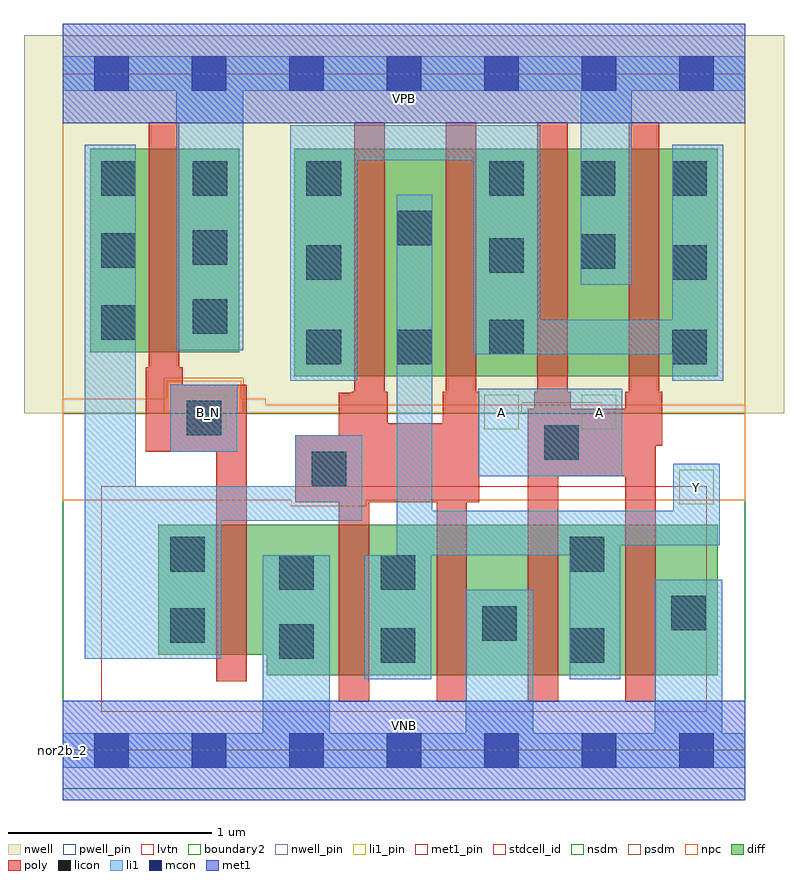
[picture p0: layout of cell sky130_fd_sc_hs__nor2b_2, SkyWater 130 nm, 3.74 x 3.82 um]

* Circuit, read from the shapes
.subckt sky130_fd_sc_hs__nor2b_2 A B_N VGND VNB VPB VPWR Y
XM1 VGND B_N n1 VNB sky130_fd_pr__nfet_01v8_lvt w=0.64 l=0.15
XM2 Y n1 VGND VNB sky130_fd_pr__nfet_01v8_lvt w=0.74 l=0.15 m=2
XM3 Y A VGND VNB sky130_fd_pr__nfet_01v8_lvt w=0.74 l=0.15 m=2
XM4 VPWR B_N n1 VPB sky130_fd_pr__pfet_01v8 w=1 l=0.15
XM5 Y n1 n2 VPB sky130_fd_pr__pfet_01v8 w=1.12 l=0.15 m=2
XM6 VPWR A n2 VPB sky130_fd_pr__pfet_01v8 w=1.12 l=0.15 m=2
.ends

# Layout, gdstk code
import gdstk
lib = gdstk.Library(unit=1e-6, precision=1e-09)
def R(c, l, rs):  # rectangles x0, y0, x1, y1
    for r in rs: c.add(gdstk.rectangle(r[:2], r[2:], *l))
def A(c, l, x, y, w, h, nx, ny, dx, dy):  # array of equal rectangles
    R(c, l, [(x+i*dx, y+j*dy, x+i*dx+w, y+j*dy+h) for i in range(nx) for j in range(ny)])
def P(c, l, *ps):  # polygons
    for p in ps: c.add(gdstk.Polygon(p, *l))
nwell_pin = (64, 16)
nwell = (64, 20)
diff = (65, 20)
poly = (66, 20)
licon = (66, 44)
li1_pin = (67, 16)
li1 = (67, 20)
mcon = (67, 44)
met1_pin = (68, 16)
met1 = (68, 20)
stdcell_id = (81, 4)
nsdm = (93, 44)
psdm = (94, 20)
npc = (95, 20)
pwell_pin = (122, 16)
lvtn = (125, 44)
boundary2 = (236, 0)

sky130_fd_sc_hs__nor2b_2 = lib.new_cell('sky130_fd_sc_hs__nor2b_2')
R(sky130_fd_sc_hs__nor2b_2, nwell_pin, [(0,3.085,3.36,3.33)])
R(sky130_fd_sc_hs__nor2b_2, nwell, [(-0.19,1.66,3.55,3.52)])
R(sky130_fd_sc_hs__nor2b_2, diff, [(1.14,1.84,3.225,2.96), (0.135,1.96,0.87,2.96)])
P(sky130_fd_sc_hs__nor2b_2, diff, [(3.225,1.11),(0.47,1.11),(0.47,0.47),(1.005,0.47),(1.005,0.37),(3.225,0.37)])
P(sky130_fd_sc_hs__nor2b_2, poly, [(2.95,1.765),(2.935,1.765),(2.935,3.09),(2.785,3.09),(2.785,1.765),(2.77,1.765),(2.77,1.68),(2.5,1.68),(2.5,1.765),(2.485,1.765),(2.485,3.09),(2.335,3.09),(2.335,1.765),(2.32,1.765),(2.32,1.68),(2.29,1.68),(2.29,0.24),(2.44,0.24),(2.44,1.35),(2.77,1.35),(2.77,0.24),(2.92,0.24),(2.92,1.5),(2.95,1.5)],
  [(2.05,1.765),(2.035,1.765),(2.035,3.09),(1.885,3.09),(1.885,1.765),(1.87,1.765),(1.87,1.61),(1.6,1.61),(1.6,1.765),(1.585,1.765),(1.585,3.09),(1.435,3.09),(1.435,1.765),(1.42,1.765),(1.42,1.76),(1.36,1.76),(1.36,1.55),(1.145,1.55),(1.145,1.22),(1.36,1.22),(1.36,0.24),(1.51,0.24),(1.51,1.22),(1.84,1.22),(1.84,0.24),(1.99,0.24),(1.99,1.22),(2.05,1.22)],
  [(0.905,1.8),(0.59,1.8),(0.59,1.885),(0.575,1.885),(0.575,3.09),(0.425,3.09),(0.425,1.885),(0.41,1.885),(0.41,1.47),(0.755,1.47),(0.755,0.34),(0.905,0.34)])
A(sky130_fd_sc_hs__nor2b_2, licon, 1.2, 1.9, 0.17, 0.17, 1, 3, 0, 0.415)
A(sky130_fd_sc_hs__nor2b_2, licon, 0.19, 2.02, 0.17, 0.17, 1, 3, 0, 0.355)
A(sky130_fd_sc_hs__nor2b_2, licon, 0.64, 2.05, 0.17, 0.17, 1, 3, 0, 0.34)
A(sky130_fd_sc_hs__nor2b_2, licon, 2.1, 2.73, 0.17, 0.17, 3, 1, 0.45, 0)
R(sky130_fd_sc_hs__nor2b_2, licon, [(1.565,0.43,1.735,0.6), (2.495,0.43,2.665,0.6), (1.065,0.45,1.235,0.62), (0.53,0.53,0.7,0.7), (2.065,0.54,2.235,0.71), (2.995,0.59,3.165,0.76), (1.065,0.79,1.235,0.96), (1.565,0.79,1.735,0.96), (0.53,0.88,0.7,1.05), (2.495,0.88,2.665,1.05), (1.225,1.3,1.395,1.47), (2.37,1.43,2.54,1.6), (0.61,1.55,0.78,1.72), (1.65,1.9,1.82,2.07), (3,1.9,3.17,2.07), (2.1,1.95,2.27,2.12), (3,2.315,3.17,2.485), (2.1,2.35,2.27,2.52), (2.55,2.37,2.72,2.54), (1.65,2.485,1.82,2.655)])
R(sky130_fd_sc_hs__nor2b_2, li1_pin, [(3.035,1.21,3.205,1.38), (0.635,1.58,0.805,1.75), (2.075,1.58,2.245,1.75), (2.555,1.58,2.725,1.75)])
R(sky130_fd_sc_hs__nor2b_2, li1, [(2.045,1.35,2.755,1.78), (0.53,1.47,0.86,1.8)])
P(sky130_fd_sc_hs__nor2b_2, li1, [(0,-0.085),(0,0.085),(0.985,0.085),(0.985,0.96),(1.315,0.96),(1.315,0.085),(1.985,0.085),(1.985,0.79),(2.315,0.79),(2.315,0.085),(2.915,0.085),(2.915,0.84),(3.245,0.84),(3.245,0.085),(3.36,0.085),(3.36,-0.085)],
  [(0,3.245),(0,3.415),(3.36,3.415),(3.36,3.245),(2.8,3.245),(2.8,2.29),(2.55,2.29),(2.55,3.245),(0.89,3.245),(0.89,1.97),(0.56,1.97),(0.56,3.245)],
  [(2.745,1.01),(2.745,0.35),(2.495,0.35),(2.495,0.96),(1.815,0.96),(1.815,0.35),(1.485,0.35),(1.485,0.96),(1.645,0.96),(1.645,2.735),(1.82,2.735),(1.82,1.18),(3.005,1.18),(3.005,1.41),(3.235,1.41),(3.235,1.01)],
  [(0.36,1.3),(1.145,1.3),(1.145,1.55),(1.475,1.55),(1.475,1.13),(0.78,1.13),(0.78,0.45),(0.11,0.45),(0.11,2.98),(0.36,2.98)],
  [(2.35,2.12),(3,2.12),(3,2.98),(3.25,2.98),(3.25,1.82),(3,1.82),(3,1.95),(2.02,1.95),(2.02,2.905),(1.45,2.905),(1.45,1.82),(1.12,1.82),(1.12,3.075),(2.35,3.075)])
A(sky130_fd_sc_hs__nor2b_2, mcon, 0.155, -0.085, 0.17, 0.17, 7, 2, 0.48, 3.33)
R(sky130_fd_sc_hs__nor2b_2, met1_pin, [(0,0,3.36,0.245), (0,3.085,3.36,3.33)])
R(sky130_fd_sc_hs__nor2b_2, met1, [(0,-0.245,3.36,0.245), (0,3.085,3.36,3.575)])
R(sky130_fd_sc_hs__nor2b_2, stdcell_id, [(0,0,3.36,3.33)])
R(sky130_fd_sc_hs__nor2b_2, nsdm, [(0,-0.19,3.36,1.66)])
P(sky130_fd_sc_hs__nor2b_2, psdm, [(3.36,3.52),(0,3.52),(0,1.66),(0.5,1.66),(0.5,1.83),(0.89,1.83),(0.89,1.66),(2.26,1.66),(2.26,1.71),(2.65,1.71),(2.65,1.66),(3.36,1.66)])
P(sky130_fd_sc_hs__nor2b_2, npc, [(3.36,1.7),(1,1.7),(1,1.73),(0.88,1.73),(0.88,1.82),(0.51,1.82),(0.51,1.73),(0,1.73),(0,1.23),(1.125,1.23),(1.125,1.2),(1.495,1.2),(1.495,1.23),(3.36,1.23)])
R(sky130_fd_sc_hs__nor2b_2, pwell_pin, [(0,0,3.36,0.245)])
R(sky130_fd_sc_hs__nor2b_2, lvtn, [(0.19,0.19,3.17,1.3)])
R(sky130_fd_sc_hs__nor2b_2, boundary2, [(0,0,3.36,3.33)])
sky130_fd_sc_hs__nor2b_2.add(gdstk.Label('nor2b_2', (0,0), layer=83, texttype=44))
sky130_fd_sc_hs__nor2b_2.add(gdstk.Label('VNB', (1.68,0.123), layer=64, texttype=59))
sky130_fd_sc_hs__nor2b_2.add(gdstk.Label('VPB', (1.68,3.208), layer=64, texttype=5))
sky130_fd_sc_hs__nor2b_2.add(gdstk.Label('VPWR', (1.68,3.208), layer=68, texttype=5))
sky130_fd_sc_hs__nor2b_2.add(gdstk.Label('VGND', (1.68,0.123), layer=68, texttype=5))
sky130_fd_sc_hs__nor2b_2.add(gdstk.Label('A', (2.16,1.665), layer=67, texttype=5))
sky130_fd_sc_hs__nor2b_2.add(gdstk.Label('A', (2.64,1.665), layer=67, texttype=5))
sky130_fd_sc_hs__nor2b_2.add(gdstk.Label('B_N', (0.72,1.665), layer=67, texttype=5))
sky130_fd_sc_hs__nor2b_2.add(gdstk.Label('Y', (3.12,1.295), layer=67, texttype=5))

lib.write_gds('sky130_fd_sc_hs__nor2b_2.gds')
